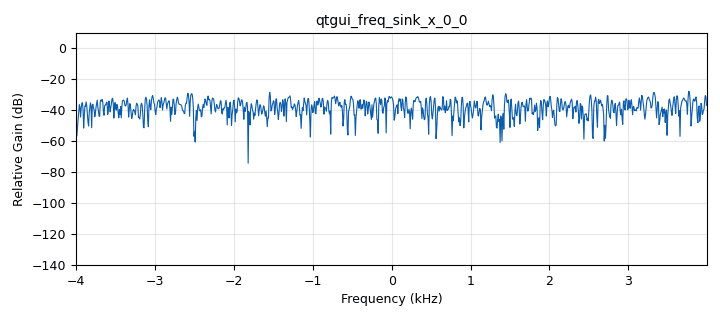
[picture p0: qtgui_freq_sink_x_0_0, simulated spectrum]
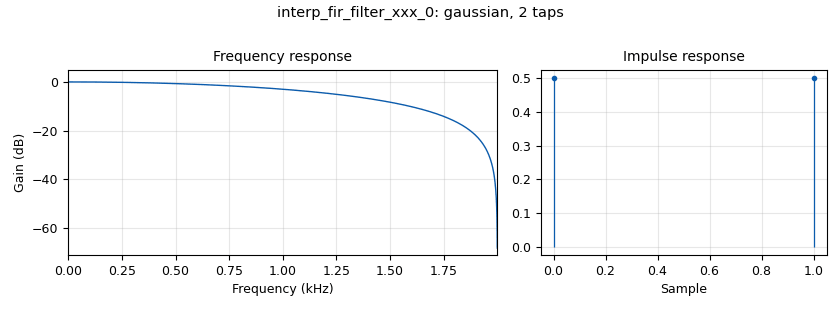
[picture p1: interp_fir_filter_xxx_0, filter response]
options:
  parameters:
    generate_options: qt_gui
    id: top_block
    output_language: python
    run: run_stop
  states: {}

blocks:
- name: A
  id: variable_qtgui_range
  parameters:
    gui_hint: 1,0,1,1
    label: A
    orient: Qt.Horizontal
    start: '-1.5'
    step: (1.5)/100.
    stop: '1.5'
    value: '1.'
  states: {}
- name: Ar
  id: variable_qtgui_range
  parameters:
    gui_hint: 2,0,1,1
    label: Ruido
    orient: Qt.Horizontal
    start: '0'
    step: (4.)/50.
    stop: '4.'
    value: '0.'
  states: {}
- name: Bps
  id: variable
  parameters:
    value: '1'
  states: {}
- name: F
  id: variable_qtgui_range
  parameters:
    gui_hint: 1,2,1,1
    label: Frecuencia
    orient: Qt.Horizontal
    start: '-2.4'
    step: (2*2.4)/1000.
    stop: '2.4'
    value: '0.'
  states: {}
- name: P
  id: variable_qtgui_range
  parameters:
    gui_hint: 1,1,1,1
    label: Fase
    orient: Qt.Horizontal
    start: '-2.*math.pi'
    step: (4.*math.pi)/360.
    stop: 2.*math.pi
    value: '0.'
  states: {}
- name: Rb
  id: variable
  parameters:
    value: '4000'
  states: {}
- name: Rolloff
  id: variable
  parameters:
    value: '0.5'
  states: {}
- name: Rs
  id: variable
  parameters:
    value: Rb/Bps
  states: {}
- name: Sps
  id: variable
  parameters:
    value: '2'
  states: {}
- name: Tb
  id: variable
  parameters:
    value: 1/Rb
  states: {}
- name: Tupdate
  id: variable
  parameters:
    value: 1./Rb
  states: {}
- name: bt
  id: variable
  parameters:
    value: '0.350'
  states: {}
- name: f1
  id: variable
  parameters:
    value: vueltas_simbolo/Tb
  states: {}
- name: ntaps
  id: variable
  parameters:
    value: '2'
  states: {}
- name: r
  id: variable
  parameters:
    value: '0.0'
  states: {state: disabled}
- name: run_stop
  id: variable_qtgui_check_box
  parameters:
    'false': 'False'
    gui_hint: 0,0,1,1
    label: Inicial/Parar
    'true': 'True'
    type: int
    value: 'True'
  states: {}
- name: samp_rate
  id: variable
  parameters:
    value: Rb*Sps
  states: {}
- name: vueltas_simbolo
  id: variable
  parameters:
    value: '2'
  states: {}
- name: analog_const_source_x_0_0
  id: analog_const_source_x
  parameters:
    const: '1'
    type: float
  states: {}
- name: analog_const_source_x_0_0_0
  id: analog_const_source_x
  parameters:
    const: P
    type: float
  states: {}
- name: analog_noise_source_x_1
  id: analog_noise_source_x
  parameters:
    amp: Ar
    noise_type: analog.GR_GAUSSIAN
    seed: '0'
    type: complex
  states: {}
- name: analog_quadrature_demod_cf_0_0
  id: analog_quadrature_demod_cf
  parameters:
    gain: '1'
  states: {state: disabled}
- name: analog_random_source_x_0
  id: analog_random_source_x
  parameters:
    max: '256'
    min: '0'
    num_samps: '10000'
    repeat: 'True'
    type: byte
  states: {}
- name: b_PSD_0
  id: b_PSD
  parameters:
    Ensayos: '1000000'
    N: '1024'
    Titulo: '''Banda'''
    Ymax: '6e-6'
    samp_rate: samp_rate
  states: {}
- name: b_PSD_c_0
  id: b_PSD_c
  parameters:
    Ensayos: '1000000'
    Fc: f1
    N: '1024'
    Ymax: '6e-6'
    gui_hint: 5,1,1,1
    samp_rate_audio: samp_rate
  states: {}
- name: b_PSD_c_0_0
  id: b_PSD_c
  parameters:
    Ensayos: '1000000'
    Fc: '0'
    N: '1024'
    Ymax: '6e-6'
    gui_hint: 5,2,1,1
    samp_rate_audio: samp_rate
  states: {}
- name: b_PSD_c_0_0_0
  id: b_PSD_c
  parameters:
    Ensayos: '1000000'
    Fc: '0'
    N: '1024'
    Ymax: '6e-6'
    gui_hint: 5,2,1,1
    samp_rate_audio: samp_rate
  states: {state: disabled}
- name: b_binary_bipolar_source_f_0
  id: b_binary_bipolar_source_f
  parameters:
    Am: '1.'
    Spb: '1'
  states: {}
- name: b_upconverter_cf_0
  id: b_upconverter_cf
  parameters:
    Fc: '16000'
    samp_rate: '44000'
  states: {}
- name: blocks_add_xx_0
  id: blocks_add_xx
  parameters:
    type: float
  states: {}
- name: blocks_add_xx_1
  id: blocks_add_xx
  parameters:
    type: complex
  states: {}
- name: blocks_complex_to_float_0
  id: blocks_complex_to_float
  parameters: {}
  states: {}
- name: blocks_complex_to_float_0_0
  id: blocks_complex_to_float
  parameters: {}
  states: {state: disabled}
- name: blocks_complex_to_float_1
  id: blocks_complex_to_float
  parameters: {}
  states: {}
- name: blocks_float_to_complex_0
  id: blocks_float_to_complex
  parameters: {}
  states: {}
- name: blocks_multiply_const_vxx_0
  id: blocks_multiply_const_vxx
  parameters:
    const: f1
    type: float
  states: {}
- name: blocks_throttle_0
  id: blocks_throttle
  parameters:
    samples_per_second: samp_rate
    type: complex
  states: {}
- name: blocks_throttle_0_0
  id: blocks_throttle
  parameters:
    samples_per_second: samp_rate
    type: complex
  states: {}
- name: blocks_vector_source_x_0_0
  id: blocks_vector_source_x
  parameters:
    repeat: 'True'
    type: byte
    vector: (1, 0, 0, 1,1, 0, 1)
  states: {state: disabled}
- name: channels_impairments_1
  id: channels_impairments
  parameters:
    freq_offset: '0'
    gamma: '0'
    i_ofs: '0'
    magbal: '0'
    phase_noise_mag: '-100'
    phasebal: '0'
    q_ofs: '0'
  states: {state: disabled}
- name: coding
  id: epy_module
  parameters:
    source_code: "# this module will be imported in the into your flowgraph\nimport numpy\nimport math\n#######################################################\n##        Done by Homero Ortega Boada              ##\n##        comdiguis@saber.uis.edu.co                 ##\n##     Universidad Industrial de Santander           ##\n#######################################################\n#######################################################\n##       Constellation map  identification           ##\n#######################################################                  \n# Constellation points are analyzed to determine the \n# the map used for ordering of the constellation points\ndef sum_modulus(a,b,modulus):\n    # realiza una suma de a y b en modulo modulus\n    return (a+b)%modulus\n\ndef angle_map(constellation_points):\n    # esta funcion entrega todos los angulos positivos entre 0 y 2pi\n    angles=numpy.angle(constellation_points)\n    return sum_modulus(angles, 2*math.pi, 2*math.pi)\n\ndef inverse_map(constellation_points):\n    M=len(constellation_points)\n    angles=angle_map(constellation_points)\n    angles=sum_modulus(angles,-angles[0], 2*math.pi) # giro a agulo cero\n    delta_angle= 2*math.pi/M     # angulo entre puntos\n    cod_inv=numpy.round(angles/delta_angle)\n    cod_inv=cod_inv.astype(numpy.int) #conversion a entero \n    return cod_inv\n\ndef direct_map(constellation_points):\n    M=len(constellation_points)\n    codinv=inverse_map(constellation_points)\n    coddirect=numpy.array([0]*M)\n    for j in range(M):\n        temp=numpy.where(codinv==j)\n        coddirect[j]=temp[0][0]\n    return coddirect\n\n\"\"\" # SECCION DE PRUEBAS DEL CODIGO\nimport gnuradio.digital as digital\nconstelacion=digital.constellation_8psk().points()\nprint(\"constelacion = \", constelacion)\nmapdirect=direct_map(constelacion)\nprint(\"codigo directo = \", mapdirect)\nmapinverse=inverse_map(constelacion)\nprint(\"codigo inverso = \", mapinverse)\n\"\"\"\n\n\n\n\n\n\n"
  states: {}
- name: digital_gmskmod_bc_0
  id: digital_gmskmod_bc
  parameters:
    L: '4'
    bt: '0.3'
    samples_per_symbol: '10'
  states: {}
- name: e_VCO_fase_fc_0
  id: epy_block
  parameters:
    _source_code: "\nimport numpy as np\nfrom gnuradio import gr\n\n\nclass blk(gr.sync_block):  \n    \"\"\"Done by Homero Ortega Boada. Es un VCO dos entradas: \nin0 para manipular la fase, in1 para manipular la \nmagnitud. En el fondo es el equivalente a un generador\nde una senal exponencial compleja. Sobre la configuracion:\ncada valor de la senal en in0 es interpretada como la fase\ndeseada en radianes. cada valor de in0, es la magnitud deseada\"\"\"\n\n    def __init__(self): \n        gr.sync_block.__init__(self,\n            name='e_VCO_fase_fc',\n            in_sig=[np.float32, np.float32],\n            out_sig=[np.complex64]\n        )\n    def work(self, input_items, output_items):\n        in0=input_items[0]\n        in1=input_items[1]\n        out0=output_items[0]\n        out0[:] = in1*np.exp(1.j*in0)\n        return len(out0)\n"
  states: {}
- name: epy_block_0
  id: epy_block
  parameters:
    _source_code: |
      """
      Embedded Python Blocks:

      Each time this file is saved, GRC will instantiate the first class it finds
      to get ports and parameters of your block. The arguments to __init__  will
      be the parameters. All of them are required to have default values!
      """

      import numpy as np
      from gnuradio import gr


      class blk(gr.sync_block):  # other base classes are basic_block, decim_block, interp_block
          """Hecho por Homoero Ortega. Es un acumulador puro, va acumulando cada muestra entrante mientras entrega lo que lleva acumulado hasta el momento. Puede convertirse en un integrador si la salida se divide en la frecuencia de muestreo de la senal"""

          def __init__(self):  # only default arguments here
              """arguments to this function show up as parameters in GRC"""
              gr.sync_block.__init__(
                  self,
                  name='e_Accum_ff',   # will show up in GRC
                  in_sig=[np.float32],
                  out_sig=[np.float32]
              )
              # if an attribute with the same name as a parameter is found,
              # a callback is registered (properties work, too).
              self.memory=0.

          def work(self, input_items, output_items):
              """El acumulador"""
              in0=input_items[0]
              out0=output_items[0]
              L=len(in0)
              out0[:]=(self.memory+np.cumsum(in0))
              self.memory=out0[L-1]
              return len(out0)
  states: {}
- name: import_0
  id: import
  parameters:
    imports: import math
  states: {}
- name: interp_fir_filter_xxx_0
  id: interp_fir_filter_xxx
  parameters:
    interp: Sps
    taps: firdes.gaussian(1.0, Rs, bt, ntaps)
    type: ccc
  states: {}
- name: qtgui_const_sink_x_0
  id: qtgui_const_sink_x
  parameters:
    gui_hint: 4,0,1,1
    label1: '''.'''
    name: ''
    size: '8'
    type: complex
    update_time: Tupdate
    width1: '4'
    xmax: '1.5'
    xmin: '-1.5'
    ymax: '1.5'
    ymin: '-1.5'
  states: {}
- name: qtgui_const_sink_x_1
  id: qtgui_const_sink_x
  parameters:
    size: '1024'
    type: complex
  states: {state: disabled}
- name: qtgui_freq_sink_x_0
  id: qtgui_freq_sink_x
  parameters:
    bw: samp_rate
    fc: '0'
    fftsize: '1024'
    gui_hint: 5,0,1,1
    type: complex
    wintype: firdes.WIN_BLACKMAN_hARRIS
  states: {}
- name: qtgui_freq_sink_x_0_0
  id: qtgui_freq_sink_x
  parameters:
    bw: samp_rate
    fc: '0'
    fftsize: '1024'
    gui_hint: 5,0,1,1
    type: complex
    wintype: firdes.WIN_BLACKMAN_hARRIS
  states: {}
- name: qtgui_time_sink_x_0
  id: qtgui_time_sink_x
  parameters:
    gui_hint: 4,1,1,2
    label1: Re
    label2: Im
    name: '"Senal Modulada. Envolvente Compleja"'
    size: '1024'
    srate: (samp_rate)
    type: complex
    update_time: Tupdate
    width1: '3'
    width2: '3'
    ymax: '1.5'
    ymin: '-1.5'
  states: {state: disabled}
- name: qtgui_time_sink_x_0_0_0_0_0
  id: qtgui_time_sink_x
  parameters:
    gui_hint: 4,1,1,2
    label1: Mensaje
    label2: ''
    label3: ''
    name: '"compararacion entre mensaje y EC"'
    nconnections: '3'
    size: '1024'
    srate: (samp_rate)
    type: float
    update_time: Tupdate
    width1: '3'
    ylabel: Amplitud
    ymax: '1.5'
    ymin: '-1.5'
    yunit: volts
  states: {}
- name: qtgui_time_sink_x_1
  id: qtgui_time_sink_x
  parameters:
    size: '1024'
    srate: samp_rate
    type: float
  states: {state: disabled}
- name: qtgui_time_sink_x_1_0
  id: qtgui_time_sink_x
  parameters:
    size: '1024'
    srate: samp_rate
    type: complex
  states: {state: disabled}
- name: qtgui_time_sink_x_1_1
  id: qtgui_time_sink_x
  parameters:
    nconnections: '2'
    size: '1024'
    srate: samp_rate
    type: float
  states: {state: disabled}
- name: vs
  id: virtual_sink
  parameters:
    stream_id: P1
  states: {}
- name: vs_0
  id: virtual_sink
  parameters:
    stream_id: P2
  states: {}
- name: vs_0_0
  id: virtual_sink
  parameters:
    stream_id: P2a
  states: {}
- name: vs_0_0_0
  id: virtual_sink
  parameters:
    stream_id: P2b
  states: {}
- name: vso
  id: virtual_source
  parameters:
    stream_id: P1
  states: {}
- name: vso_0
  id: virtual_source
  parameters:
    stream_id: P2
  states: {}
- name: vso_1
  id: virtual_source
  parameters:
    stream_id: P1
  states: {}
- name: wform
  id: epy_module
  parameters:
    source_code: |
      import math
      import numpy
      #######################################################
      ##        Hecho por Homero Ortega Boada              ##
      ##        comdiguis@saber.uis.edu.co                 ##
      ##     Universidad Industrial de Santander           ##
      #######################################################

      #######################################################
      ##               Forma rectangular                   ##
      #######################################################                       
      def rect(Sps,ntaps):
          h=ntaps*[0,]
          for n in range(Sps):
              k=int(ntaps/2) # esto es para que h[n] quede centrada en la mitad del vector
              h[k-n]=1.
          return h

      #######################################################
      ##               Forma de Nyquist                    ##
      #######################################################                       
      def nyq(Sps,ntaps):
          ntaps_min=-int(ntaps/2)
          ntaps_max=abs(ntaps_min)-1+int(math.ceil(ntaps/2.-abs(ntaps_min)))
          h=ntaps*[0,]
          for n in range(ntaps):
              k=n-ntaps/2. # esto es para que h[n] quede centrada en la mitad del vector
              h[n]=numpy.sinc(k/Sps)
          Amp=numpy.amax(h)
          return h/Amp

      #######################################################
      ##               Forma Coseno Alzado                 ##
      #######################################################                       
      def rcos(Sps,ntaps,beta):
          if beta==0:
              h=nyq(Sps,ntaps)
          else:
              h=ntaps*[0,]
              for n in range(ntaps):
                  k=n-ntaps/2. # esto es para que h[n] quede centrada en la mitad del vector
                  if abs(k)==Sps/(2.*beta):
                      h[n]=numpy.sinc(1./(2.*beta))*math.pi/4.
                  else:
                      h[n]=numpy.sinc(k/Sps)*math.cos(beta*k*math.pi/Sps)/(1.-(2.*beta*k/Sps)**2)                
          Amp=numpy.amax(h)
          return h/Amp

      #######################################################
      ##            Forma Raiz de Coseno Alzado            ##
      #######################################################                       

      def rrcos(Sps,ntaps,beta):
          if beta==0:
              h=nyq(Sps,ntaps)
          else:
              h=ntaps*[0,]
              beta4=4.*beta
              for n in range(ntaps):
                  k=n-ntaps/2. # esto es para que h[n] quede centrada en la mitad del vector
                  if k==0:
                      h[n]=1+beta*(4./math.pi-1.)
                  elif abs(k)==Sps/beta4:
                      ha=(1.+2./math.pi)*math.sin(math.pi/beta4)
                      hb=(1.-2./math.pi)*math.cos(math.pi/beta4)
                      h[n]=(ha+hb)*beta/math.sqrt(2.)
                  else:
                      ks=k/Sps
                      kspi=math.pi*ks
                      Num=math.sin(kspi*(1-beta))+beta4*ks*math.cos(kspi*(1+beta))
                      Den=kspi*(1.-(beta4*ks)**2)
                      h[n]=Num/Den                
          Amp=numpy.amax(h)
          return h/Amp
  states: {}

connections:
- [analog_const_source_x_0_0, '0', e_VCO_fase_fc_0, '1']
- [analog_const_source_x_0_0, '0', vs_0_0_0, '0']
- [analog_const_source_x_0_0_0, '0', blocks_add_xx_0, '1']
- [analog_const_source_x_0_0_0, '0', vs_0_0, '0']
- [analog_noise_source_x_1, '0', blocks_add_xx_1, '1']
- [analog_random_source_x_0, '0', digital_gmskmod_bc_0, '0']
- [b_binary_bipolar_source_f_0, '0', blocks_float_to_complex_0, '0']
- [b_upconverter_cf_0, '0', b_PSD_0, '0']
- [blocks_add_xx_0, '0', e_VCO_fase_fc_0, '0']
- [blocks_add_xx_1, '0', blocks_throttle_0, '0']
- [blocks_complex_to_float_0, '0', qtgui_time_sink_x_0_0_0_0_0, '1']
- [blocks_complex_to_float_0, '1', qtgui_time_sink_x_0_0_0_0_0, '2']
- [blocks_complex_to_float_1, '0', epy_block_0, '0']
- [blocks_complex_to_float_1, '0', vs_0, '0']
- [blocks_float_to_complex_0, '0', interp_fir_filter_xxx_0, '0']
- [blocks_multiply_const_vxx_0, '0', blocks_add_xx_0, '0']
- [blocks_throttle_0, '0', vs, '0']
- [blocks_throttle_0_0, '0', analog_quadrature_demod_cf_0_0, '0']
- [blocks_throttle_0_0, '0', qtgui_const_sink_x_1, '0']
- [blocks_throttle_0_0, '0', qtgui_freq_sink_x_0_0, '0']
- [digital_gmskmod_bc_0, '0', blocks_throttle_0_0, '0']
- [e_VCO_fase_fc_0, '0', blocks_add_xx_1, '0']
- [epy_block_0, '0', blocks_multiply_const_vxx_0, '0']
- [interp_fir_filter_xxx_0, '0', blocks_complex_to_float_1, '0']
- [vso, '0', b_PSD_c_0, '0']
- [vso, '0', b_PSD_c_0_0, '0']
- [vso, '0', blocks_complex_to_float_0, '0']
- [vso, '0', qtgui_const_sink_x_0, '0']
- [vso, '0', qtgui_freq_sink_x_0, '0']
- [vso, '0', qtgui_time_sink_x_0, '0']
- [vso_0, '0', qtgui_time_sink_x_0_0_0_0_0, '0']
- [vso_1, '0', b_upconverter_cf_0, '0']

metadata:
  file_format: 1
